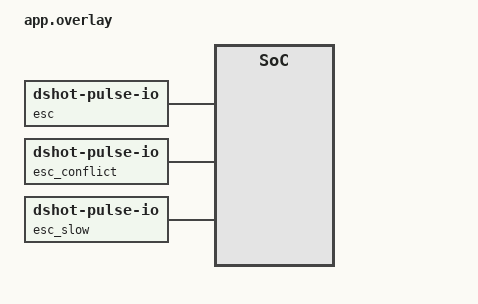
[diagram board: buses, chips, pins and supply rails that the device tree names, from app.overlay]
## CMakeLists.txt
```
# SPDX-FileCopyrightText: Copyright The Zephyr Project Contributors
# SPDX-License-Identifier: Apache-2.0

cmake_minimum_required(VERSION 3.28.0)
find_package(Zephyr REQUIRED HINTS $ENV{ZEPHYR_BASE})
project(dshot_pulse_io)

target_sources(app PRIVATE src/main.c src/fake_pulse_io.c)
```

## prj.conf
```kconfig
CONFIG_ZTEST=y
CONFIG_DSHOT=y
CONFIG_LOG=y
CONFIG_ZTEST_STACK_SIZE=4096
```

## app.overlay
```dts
/*
 * SPDX-FileCopyrightText: Copyright The Zephyr Project Contributors
 *
 * SPDX-License-Identifier: Apache-2.0
 */

/ {
	fake_pio0: pulse-io-0 {
		compatible = "vnd,pulse-io-fake";
		#pulse-io-cells = <1>;
		num-channels = <8>;
		group-transmit;
	};

	fake_pio1: pulse-io-1 {
		compatible = "vnd,pulse-io-fake";
		#pulse-io-cells = <1>;
		num-channels = <2>;
	};

	/* Four ESCs spread over two controllers */
	esc: dshot-0 {
		compatible = "zephyr,dshot-pulse-io";
		pulse-ios = <&fake_pio0 0>, <&fake_pio0 1>, <&fake_pio0 2>, <&fake_pio1 0>;
		dshot-speed = <600>;
	};

	/* Claims a channel esc already owns, so it never becomes ready */
	esc_conflict: dshot-1 {
		compatible = "zephyr,dshot-pulse-io";
		pulse-ios = <&fake_pio0 1>;
	};

	esc_slow: dshot-2 {
		compatible = "zephyr,dshot-pulse-io";
		pulse-ios = <&fake_pio0 5>;
		dshot-speed = <150>;
	};
};
```

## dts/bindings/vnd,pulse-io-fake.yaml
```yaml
# SPDX-FileCopyrightText: Copyright The Zephyr Project Contributors
# SPDX-License-Identifier: Apache-2.0

description: |
  Test double for a Pulse IO controller. It records what clients transmit
  and lets the test change the capabilities it reports.

compatible: "vnd,pulse-io-fake"

include: [pulse-io-controller.yaml]

properties:
  num-channels:
    type: int
    required: true
    description: Number of channels the controller exposes.

  group-transmit:
    type: boolean
    description: |
      Implement group transmission, with channels starting on the same
      edge.
```

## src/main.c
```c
/*
 * SPDX-FileCopyrightText: Copyright The Zephyr Project Contributors
 *
 * SPDX-License-Identifier: Apache-2.0
 */

#include <zephyr/drivers/dshot.h>
#include <zephyr/drivers/pulse_io.h>
#include <zephyr/kernel.h>
#include <zephyr/ztest.h>

#include "fake_pulse_io.h"

#define ESC_CHANNELS 4U

static const struct device *const esc = DEVICE_DT_GET(DT_NODELABEL(esc));
static const struct device *const esc_conflict = DEVICE_DT_GET(DT_NODELABEL(esc_conflict));
static const struct device *const esc_slow = DEVICE_DT_GET(DT_NODELABEL(esc_slow));
static const struct device *const pio0 = DEVICE_DT_GET(DT_NODELABEL(fake_pio0));
static const struct device *const pio1 = DEVICE_DT_GET(DT_NODELABEL(fake_pio1));

/* DShot channels 0-2 are on pio0 channels 0-2, channel 3 on pio1 channel 0 */
static struct fake_pio_channel *esc_ch(uint8_t channel)
{
	return (channel < 3U) ? fake_pio_channel(pio0, channel) : fake_pio_channel(pio1, 0);
}

static void clear_records(void)
{
	for (uint8_t i = 0; i < ESC_CHANNELS; i++) {
		struct fake_pio_channel *ch = esc_ch(i);

		ch->configure_count = 0;
		ch->tx_count = 0;
		ch->last_count = 0;
		ch->history_len = 0;
	}
}

static int configure(enum dshot_speed speed)
{
	struct dshot_config cfg = {.speed = speed};

	return dshot_configure(esc, &cfg);
}

/* Apply @p speed even when it is the current one */
static void force_speed(enum dshot_speed speed)
{
	zassert_ok(configure((speed == DSHOT_SPEED_300) ? DSHOT_SPEED_600 : DSHOT_SPEED_300));
	zassert_ok(configure(speed));
}

static void assert_history(uint8_t channel, size_t count, uint16_t frame)
{
	struct fake_pio_channel *ch = esc_ch(channel);

	zassert_equal(ch->history_len, count, "channel %u sent %zu frames", channel,
		      ch->history_len);
	for (size_t i = 0; i < count; i++) {
		zassert_equal(ch->history[i], frame, "channel %u frame %zu: 0x%04x", channel, i,
			      ch->history[i]);
	}
}

ZTEST(dshot_pulse_io, test_ready_and_ownership)
{
	struct pulse_io_channel *handle;

	zassert_true(device_is_ready(esc));
	zassert_true(device_is_ready(esc_slow));
	zassert_equal(dshot_get_channel_count(esc), ESC_CHANNELS);
	zassert_equal(dshot_get_channel_count(esc_slow), 1U);

	/* The second device claiming a reserved channel fails to initialize */
	zassert_false(device_is_ready(esc_conflict));

	/* Reserved channels stay unavailable to other Pulse IO clients */
	zassert_equal(pulse_io_channel_get(pio0, 1, &handle), -EBUSY);
	zassert_equal(pulse_io_channel_get(pio1, 0, &handle), -EBUSY);
	zassert_equal(pulse_io_channel_get(pio0, 5, &handle), -EBUSY);

	zassert_ok(pulse_io_channel_get(pio0, 7, &handle));
	zassert_ok(pulse_io_channel_release(pio0, handle));
}

ZTEST(dshot_pulse_io, test_cell_configuration)
{
	struct fake_pio_channel *ch = esc_ch(0);

	zassert_equal(ch->cfg.mode, PULSE_IO_MODE_CELL);
	zassert_equal(ch->cfg.dir, PULSE_IO_DIR_TX);
	zassert_false(ch->cfg.idle_high);
	zassert_false(ch->cfg.carrier_en);
	/* The finest tick on offer is requested and rounded to 80 MHz */
	zassert_equal(ch->cfg.resolution_hz, NSEC_PER_SEC / 13U);
	zassert_equal(ch->resolution_hz, 80000000U);
	zassert_equal(ch->cfg.cell_period_ticks, 133U);

	/* The period estimated from the requested rate is corrected */
	clear_records();
	zassert_ok(configure(DSHOT_SPEED_300));
	zassert_equal(ch->configure_count, 2U);
	zassert_equal(ch->cfg.cell_period_ticks, 267U);

	/* The slow device was configured from its devicetree speed */
	zassert_equal(fake_pio_channel(pio0, 5)->cfg.cell_period_ticks, 533U);
}

ZTEST(dshot_pulse_io, test_send_frames)
{
	struct fake_pio_channel *ch = esc_ch(1);

	zassert_ok(dshot_set_throttle(esc, 0, DSHOT_THROTTLE_MIN, false));
	zassert_ok(dshot_set_throttle(esc, 1, 1046, true));
	zassert_ok(dshot_set_throttle(esc, 2, DSHOT_THROTTLE_MAX, false));
	zassert_ok(dshot_send(esc));

	assert_history(0, 1, 0x0606);
	assert_history(1, 1, 0x82d7);
	assert_history(2, 1, 0xffee);
	assert_history(3, 1, 0x0000);

	/* 16 data cells at 3/8 and 3/4 of 133 ticks, then two idle cells */
	zassert_equal(ch->last_count, 18U);
	for (size_t i = 0; i < 16U; i++) {
		bool one = (0x82d7 & BIT(15U - i)) != 0U;

		zassert_equal(ch->last.cells[i].duty, one ? 100U : 50U, "cell %zu", i);
	}
	zassert_equal(ch->last.cells[16].duty, 0U);
	zassert_equal(ch->last.cells[17].duty, 0U);

	/* Transmissions are bounded in time */
	zassert_false(K_TIMEOUT_EQ(ch->last_timeout, K_FOREVER));
	zassert_false(K_TIMEOUT_EQ(ch->last_timeout, K_NO_WAIT));
}

ZTEST(dshot_pulse_io, test_group_transmit)
{
	struct fake_pio_groups *groups = fake_pio_groups(pio0);

	zassert_ok(dshot_set_throttle(esc, 1, 1046, false));
	zassert_ok(dshot_send(esc));

	/* The three channels of pio0 start together on the same edge */
	zassert_equal(groups->calls, 1U);
	zassert_equal(groups->last_count, 3U);
	zassert_equal(groups->last_flags, PULSE_IO_TX_GROUP_SYNC);
	assert_history(1, 1, 0x82c6);

	/* pio1 has no group support and transmits on its own */
	zassert_equal(fake_pio_groups(pio1)->calls, 0U);
	assert_history(3, 1, 0x0000);
}

ZTEST(dshot_pulse_io, test_group_without_sync)
{
	struct fake_pio_groups *groups = fake_pio_groups(pio0);

	/* A controller that cannot align the starts still gets one group */
	fake_pio_caps(pio0)->tx_sync_multi_channel = false;
	force_speed(DSHOT_SPEED_600);
	zassert_ok(dshot_send(esc));
	zassert_equal(groups->calls, 1U);
	zassert_equal(groups->last_count, 3U);
	zassert_equal(groups->last_flags, 0U);
}

ZTEST(dshot_pulse_io, test_staged_value_persists)
{
	uint16_t frame = dshot_frame_encode(500, false);

	zassert_ok(dshot_set_throttle(esc, 0, 500, false));
	for (int i = 0; i < 3; i++) {
		zassert_ok(dshot_send(esc));
	}
	assert_history(0, 3, frame);
	assert_history(1, 3, 0x0000);
}

ZTEST(dshot_pulse_io, test_rejects_commands_as_throttle)
{
	for (uint16_t v = 1; v < DSHOT_THROTTLE_MIN; v++) {
		zassert_equal(dshot_set_throttle(esc, 0, v, false), -EINVAL, "value %u", v);
	}
	zassert_equal(dshot_set_throttle(esc, 0, DSHOT_THROTTLE_MAX + 1U, false), -EINVAL);
	zassert_equal(dshot_set_throttle(esc, ESC_CHANNELS, 100, false), -EINVAL);

	/* Nothing was sent and the staged stop value is unchanged */
	zassert_equal(esc_ch(0)->tx_count, 0U);
	zassert_ok(dshot_send(esc));
	assert_history(0, 1, 0x0000);
}

ZTEST(dshot_pulse_io, test_stop)
{
	for (uint8_t i = 0; i < ESC_CHANNELS; i++) {
		zassert_ok(dshot_set_throttle(esc, i, 1000 + i, true));
	}
	zassert_ok(dshot_stop(esc));
	zassert_ok(dshot_send(esc));

	for (uint8_t i = 0; i < ESC_CHANNELS; i++) {
		assert_history(i, 2, 0x0000);
	}
}

ZTEST(dshot_pulse_io, test_all_speeds)
{
	static const struct {
		enum dshot_speed speed;
		uint32_t bit_ticks;
		uint16_t t0h;
		uint16_t t1h;
		size_t cells;
	} expect[] = {
		{DSHOT_SPEED_150, 533, 200, 400, 18},
		{DSHOT_SPEED_300, 267, 100, 200, 18},
		{DSHOT_SPEED_600, 133, 50, 100, 18},
		{DSHOT_SPEED_1200, 67, 25, 50, 19},
	};
	struct fake_pio_channel *ch = esc_ch(0);

	for (size_t i = 0; i < ARRAY_SIZE(expect); i++) {
		zassert_ok(configure(expect[i].speed));
		zassert_equal(ch->cfg.cell_period_ticks, expect[i].bit_ticks, "DShot%u",
			      expect[i].speed);
		zassert_ok(dshot_set_throttle(esc, 0, 1046, false));
		zassert_ok(dshot_send(esc));
		/* The speed only changes while the motors are stopped */
		zassert_ok(dshot_set_throttle(esc, 0, DSHOT_THROTTLE_STOP, false));
		zassert_equal(ch->last_count, expect[i].cells, "DShot%u", expect[i].speed);
		zassert_equal(ch->last.cells[0].duty, expect[i].t1h, "DShot%u", expect[i].speed);
		zassert_equal(ch->last.cells[1].duty, expect[i].t0h, "DShot%u", expect[i].speed);
		zassert_equal(ch->history[ch->history_len - 1U], 0x82c6);
	}
}

ZTEST(dshot_pulse_io, test_invalid_speed)
{
	zassert_equal(configure((enum dshot_speed)400), -EINVAL);
	zassert_equal(configure((enum dshot_speed)0), -EINVAL);
	zassert_equal(esc_ch(0)->configure_count, 0U);
}

ZTEST(dshot_pulse_io, test_symbol_fallback)
{
	struct fake_pio_channel *ch = esc_ch(2);

	/* Level-only cells cannot carry a duty cycle */
	fake_pio_caps(pio0)->cell_duty_bits = 0;
	fake_pio_caps(pio1)->cell_duty_bits = 0;
	zassert_ok(configure(DSHOT_SPEED_300));
	zassert_equal(ch->cfg.mode, PULSE_IO_MODE_SYMBOL);

	zassert_ok(dshot_set_throttle(esc, 2, 1046, false));
	zassert_ok(dshot_send(esc));
	assert_history(2, 1, 0x82c6);

	zassert_equal(ch->last_count, 34U);
	for (size_t i = 0; i < 16U; i++) {
		bool one = (0x82c6 & BIT(15U - i)) != 0U;

		zassert_equal(ch->last.symbols[2U * i].level, 1U);
		zassert_equal(ch->last.symbols[2U * i].duration, one ? 200U : 100U);
		zassert_equal(ch->last.symbols[2U * i + 1U].level, 0U);
		zassert_equal(ch->last.symbols[2U * i].duration +
				      ch->last.symbols[2U * i + 1U].duration,
			      267U);
	}
	zassert_equal(ch->last.symbols[32].level, 0U);
	zassert_equal(ch->last.symbols[33].duration, 267U);
}

ZTEST(dshot_pulse_io, test_level_only_cells_unsupported)
{
	/* Only level cells: DShot cannot be generated at all */
	fake_pio_caps(pio0)->modes = PULSE_IO_MODE_CELL;
	fake_pio_caps(pio0)->cell_duty_bits = 0;
	zassert_equal(configure(DSHOT_SPEED_300), -ENOTSUP);

	/* Restoring the previous speed failed too, so nothing is sent */
	zassert_equal(dshot_send(esc), -EIO);
	zassert_equal(esc_ch(3)->tx_count, 0U);

	fake_pio_reset(pio0);
	zassert_ok(configure(DSHOT_SPEED_600));
	zassert_ok(dshot_send(esc));
}

ZTEST(dshot_pulse_io, test_unsupported_speed_keeps_previous)
{
	/* 10 MHz ticks: DShot300 is 1 % fast, DShot1200 would be 4 % fast */
	fake_pio_caps(pio0)->min_tick_ns = 100;
	fake_pio_caps(pio1)->min_tick_ns = 100;
	zassert_ok(configure(DSHOT_SPEED_300));
	zassert_equal(esc_ch(0)->cfg.cell_period_ticks, 33U);

	zassert_equal(configure(DSHOT_SPEED_1200), -ENOTSUP);
	zassert_equal(esc_ch(0)->cfg.cell_period_ticks, 33U);
	zassert_equal(esc_ch(3)->cfg.cell_period_ticks, 33U);

	zassert_ok(dshot_send(esc));
	zassert_equal(esc_ch(0)->last.cells[0].duty, 12U);
}

ZTEST(dshot_pulse_io, test_resolution_rounding)
{
	struct fake_pio_channel *ch = esc_ch(0);

	/* 48 MHz source: the 47.6 MHz request rounds to 48 MHz */
	fake_pio_set_src_clock(pio0, 48000000);
	fake_pio_caps(pio0)->min_tick_ns = 21;
	force_speed(DSHOT_SPEED_600);
	zassert_equal(ch->cfg.resolution_hz, NSEC_PER_SEC / 21U);
	zassert_equal(ch->cfg.cell_period_ticks, 80U);

	zassert_ok(dshot_set_throttle(esc, 0, 2047, false));
	zassert_ok(dshot_send(esc));
	zassert_equal(ch->last.cells[0].duty, 60U);
	zassert_equal(ch->last.cells[11].duty, 30U);
}

ZTEST(dshot_pulse_io, test_no_resolution_readback)
{
	struct fake_pio_channel *ch = esc_ch(0);

	/* Without readback the requested rate is assumed */
	fake_pio_set_readback(pio0, false);
	fake_pio_set_src_clock(pio0, NSEC_PER_SEC / 13U);
	force_speed(DSHOT_SPEED_600);
	zassert_equal(ch->cfg.cell_period_ticks, 128U);

	zassert_ok(dshot_send(esc));
	zassert_equal(ch->last.cells[0].duty, 48U);
}

ZTEST(dshot_pulse_io, test_transmit_error)
{
	esc_ch(1)->tx_error = -EIO;
	zassert_equal(dshot_send(esc), -EIO);

	/* The other channels are still sent */
	for (uint8_t i = 0; i < ESC_CHANNELS; i++) {
		zassert_equal(esc_ch(i)->tx_count, 1U, "channel %u", i);
	}

	/* The first error wins */
	esc_ch(3)->tx_error = -ETIMEDOUT;
	zassert_equal(dshot_send(esc), -EIO);
	esc_ch(1)->tx_error = 0;
	zassert_equal(dshot_send(esc), -ETIMEDOUT);
	esc_ch(3)->tx_error = 0;
	zassert_ok(dshot_send(esc));
}

ZTEST(dshot_pulse_io, test_command_sequence)
{
	int64_t start = k_uptime_get();

	zassert_ok(dshot_send_command(esc, BIT(1), DSHOT_CMD_SPIN_DIRECTION_REVERSED));

	/* Ten identical frames with the telemetry bit, nine 1 ms gaps, 1 ms after */
	assert_history(1, 10, dshot_frame_encode(DSHOT_CMD_SPIN_DIRECTION_REVERSED, true));
	assert_history(0, 10, 0x0000);
	assert_history(2, 10, 0x0000);
	assert_history(3, 10, 0x0000);
	zassert_true(k_uptime_get() - start >= 10);

	/* The staged values are untouched */
	zassert_ok(dshot_send(esc));
	zassert_equal(esc_ch(1)->history[10], 0x0000);
}

ZTEST(dshot_pulse_io, test_command_beacon)
{
	int64_t start = k_uptime_get();

	zassert_ok(dshot_send_command(esc, BIT_MASK(ESC_CHANNELS), DSHOT_CMD_BEACON1));
	zassert_true(k_uptime_get() - start >= 260);
	for (uint8_t i = 0; i < ESC_CHANNELS; i++) {
		assert_history(i, 1, 0x0033);
	}
}

ZTEST(dshot_pulse_io, test_command_requires_stopped_motors)
{
	zassert_ok(dshot_set_throttle(esc, 2, 100, false));
	zassert_equal(dshot_send_command(esc, BIT(0), DSHOT_CMD_BEACON1), -EBUSY);
	zassert_equal(esc_ch(0)->tx_count, 0U);

	/* A stopped motor with the telemetry bit is still stopped */
	zassert_ok(dshot_set_throttle(esc, 2, DSHOT_THROTTLE_STOP, true));
	zassert_ok(dshot_send_command(esc, BIT(0), DSHOT_CMD_LED0_ON));
}

ZTEST(dshot_pulse_io, test_command_invalid)
{
	zassert_equal(dshot_send_command(esc, 0, DSHOT_CMD_BEACON1), -EINVAL);
	zassert_equal(dshot_send_command(esc, BIT(ESC_CHANNELS), DSHOT_CMD_BEACON1), -EINVAL);
	zassert_equal(dshot_send_command(esc, BIT(0), (enum dshot_command)48), -EINVAL);
	zassert_equal(esc_ch(0)->tx_count, 0U);
}

ZTEST(dshot_pulse_io, test_configure_while_spinning)
{
	zassert_ok(dshot_set_throttle(esc, 3, 100, false));
	zassert_equal(configure(DSHOT_SPEED_300), -EBUSY);
	zassert_equal(esc_ch(0)->configure_count, 0U);
}

static K_THREAD_STACK_DEFINE(worker_stack, 2048);
static struct k_thread worker;
static volatile int worker_result;

static void command_worker(void *p1, void *p2, void *p3)
{
	ARG_UNUSED(p1);
	ARG_UNUSED(p2);
	ARG_UNUSED(p3);

	worker_result = dshot_send_command(esc, BIT(0), DSHOT_CMD_SAVE_SETTINGS);
}

ZTEST(dshot_pulse_io, test_throttle_rejected_during_command)
{
	k_thread_create(&worker, worker_stack, K_THREAD_STACK_SIZEOF(worker_stack),
			command_worker, NULL, NULL, NULL, K_PRIO_PREEMPT(0), 0, K_NO_WAIT);

	/* The command takes 10 frames 1 ms apart, then 35 ms */
	k_msleep(20);
	zassert_true(esc_ch(0)->tx_count > 0U);
	zassert_equal(dshot_set_throttle(esc, 1, 100, false), -EBUSY);
	zassert_ok(dshot_set_throttle(esc, 1, DSHOT_THROTTLE_STOP, true));

	zassert_ok(k_thread_join(&worker, K_SECONDS(1)));
	zassert_ok(worker_result);
	assert_history(0, 10, dshot_frame_encode(DSHOT_CMD_SAVE_SETTINGS, true));

	zassert_ok(dshot_set_throttle(esc, 1, 100, false));
}

static void send_worker(void *p1, void *p2, void *p3)
{
	ARG_UNUSED(p2);
	ARG_UNUSED(p3);

	*(volatile int *)p1 = dshot_send(esc);
}

ZTEST(dshot_pulse_io, test_overlapping_sends)
{
	static K_THREAD_STACK_DEFINE(second_stack, 2048);
	static volatile int second_result;
	static struct k_thread second;
	struct fake_pio_channel *ch = esc_ch(0);
	struct k_sem gate;

	k_sem_init(&gate, 0, 2);
	ch->tx_gate = &gate;
	zassert_ok(dshot_set_throttle(esc, 0, 500, false));

	/* The first send blocks inside the channel 0 transmission */
	k_thread_create(&worker, worker_stack, K_THREAD_STACK_SIZEOF(worker_stack), send_worker,
			(void *)&worker_result, NULL, NULL, K_PRIO_PREEMPT(0), 0, K_NO_WAIT);
	k_msleep(5);
	zassert_true(ch->tx_waiting);

	/* Staging does not wait for the transmission in flight */
	zassert_ok(dshot_set_throttle(esc, 0, 1046, false));

	/* A second send waits for the first one */
	k_thread_create(&second, second_stack, K_THREAD_STACK_SIZEOF(second_stack), send_worker,
			(void *)&second_result, NULL, NULL, K_PRIO_PREEMPT(0), 0, K_NO_WAIT);
	k_msleep(5);
	zassert_equal(esc_ch(1)->tx_count, 0U);

	k_sem_give(&gate);
	k_sem_give(&gate);
	zassert_ok(k_thread_join(&worker, K_SECONDS(1)));
	zassert_ok(k_thread_join(&second, K_SECONDS(1)));
	zassert_ok(worker_result);
	zassert_ok(second_result);

	/* The frame in flight kept the value staged when it started */
	zassert_equal(ch->history_len, 2U);
	zassert_equal(ch->history[0], dshot_frame_encode(500, false));
	zassert_equal(ch->history[1], dshot_frame_encode(1046, false));
	assert_history(1, 2, 0x0000);
}

static int isr_set_result;
static int isr_send_result;

static void isr_timer_fn(struct k_timer *timer)
{
	ARG_UNUSED(timer);

	isr_set_result = dshot_set_throttle(esc, 0, 700, false);
	isr_send_result = dshot_send(esc);
}

ZTEST(dshot_pulse_io, test_isr_context)
{
	struct k_timer timer;

	k_timer_init(&timer, isr_timer_fn, NULL);
	k_timer_start(&timer, K_MSEC(1), K_NO_WAIT);
	k_msleep(10);

	/* Staging works from an interrupt, transmitting does not */
	zassert_ok(isr_set_result);
	zassert_equal(isr_send_result, -EWOULDBLOCK);
	zassert_equal(esc_ch(0)->tx_count, 0U);
	zassert_ok(dshot_send(esc));
	assert_history(0, 1, dshot_frame_encode(700, false));
}

/* Runs in user mode when CONFIG_USERSPACE=y, to cover the syscall handlers */
ZTEST_USER(dshot_pulse_io, test_syscalls)
{
	struct dshot_config cfg = {.speed = DSHOT_SPEED_300};

	zassert_equal(dshot_get_channel_count(esc), ESC_CHANNELS);
	zassert_ok(dshot_configure(esc, &cfg));
	zassert_ok(dshot_set_throttle(esc, 0, 1046, true));
	zassert_equal(dshot_set_throttle(esc, 0, 47, false), -EINVAL);
	zassert_ok(dshot_send(esc));
	zassert_ok(dshot_stop(esc));
	zassert_ok(dshot_send_command(esc, BIT(1), DSHOT_CMD_LED0_ON));
	zassert_equal(dshot_send_command(esc, BIT(1), (enum dshot_command)60), -EINVAL);
}

static void *dshot_pulse_io_setup(void)
{
	k_object_access_grant(esc, k_current_get());
	return NULL;
}

static void dshot_pulse_io_before(void *fixture)
{
	ARG_UNUSED(fixture);

	for (uint8_t i = 0; i < ESC_CHANNELS; i++) {
		zassert_ok(dshot_set_throttle(esc, i, DSHOT_THROTTLE_STOP, false));
	}
	fake_pio_reset(pio0);
	fake_pio_reset(pio1);
	force_speed(DSHOT_SPEED_600);
	clear_records();
}

ZTEST_SUITE(dshot_pulse_io, NULL, dshot_pulse_io_setup, dshot_pulse_io_before, NULL, NULL);
```

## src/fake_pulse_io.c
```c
/*
 * SPDX-FileCopyrightText: Copyright The Zephyr Project Contributors
 *
 * SPDX-License-Identifier: Apache-2.0
 */

#define DT_DRV_COMPAT vnd_pulse_io_fake

#include <string.h>

#include <zephyr/device.h>
#include <zephyr/drivers/pulse_io.h>
#include <zephyr/kernel.h>

#include "fake_pulse_io.h"

#define FAKE_PIO_SRC_CLK_HZ 80000000U

struct fake_pio_data {
	struct pulse_io_caps caps;
	struct fake_pio_groups groups;
	uint32_t src_clk_hz;
	bool readback;
	bool group_support;
	uint8_t num_channels;
	struct fake_pio_channel channels[FAKE_PIO_MAX_CHANNELS];
};

/* Like the ESP32-S3 RMT: 80 MHz source, 15-bit fields, 4 TX channels */
static void fake_pio_default_caps(struct fake_pio_data *data)
{
	data->caps = (struct pulse_io_caps){
		.modes = PULSE_IO_MODE_SYMBOL | PULSE_IO_MODE_CELL,
		.supports_tx = true,
		.supports_rx = false,
		.min_tick_ns = 13,
		.max_tick_ns = 819200,
		.max_duration_ticks = 32767,
		.tx_channel_mask = BIT_MASK(data->num_channels),
		.num_channels = data->num_channels,
		.cell_duty_bits = 15,
		.tx_max_streaming = SIZE_MAX,
	};
	data->caps.tx_sync_multi_channel = data->group_support;
	data->src_clk_hz = FAKE_PIO_SRC_CLK_HZ;
	data->readback = true;
}

static struct fake_pio_channel *to_channel(const struct device *dev,
					   struct pulse_io_channel *handle)
{
	struct fake_pio_data *data = dev->data;
	uintptr_t idx = (uintptr_t)handle - 1U;

	if (idx >= data->num_channels) {
		return NULL;
	}
	return &data->channels[idx];
}

struct fake_pio_channel *fake_pio_channel(const struct device *dev, uint8_t index)
{
	struct fake_pio_data *data = dev->data;

	return &data->channels[index];
}

struct pulse_io_caps *fake_pio_caps(const struct device *dev)
{
	struct fake_pio_data *data = dev->data;

	return &data->caps;
}

void fake_pio_set_src_clock(const struct device *dev, uint32_t src_clk_hz)
{
	struct fake_pio_data *data = dev->data;

	data->src_clk_hz = src_clk_hz;
}

void fake_pio_set_readback(const struct device *dev, bool supported)
{
	struct fake_pio_data *data = dev->data;

	data->readback = supported;
}

struct fake_pio_groups *fake_pio_groups(const struct device *dev)
{
	struct fake_pio_data *data = dev->data;

	return &data->groups;
}

void fake_pio_reset(const struct device *dev)
{
	struct fake_pio_data *data = dev->data;

	fake_pio_default_caps(data);
	data->groups = (struct fake_pio_groups){0};
	for (uint8_t i = 0; i < data->num_channels; i++) {
		struct fake_pio_channel *ch = &data->channels[i];

		ch->configure_count = 0;
		ch->tx_count = 0;
		ch->last_count = 0;
		ch->history_len = 0;
		ch->tx_error = 0;
		ch->tx_gate = NULL;
		ch->tx_waiting = false;
	}
}

static int fake_get_capabilities(const struct device *dev, struct pulse_io_caps *caps)
{
	struct fake_pio_data *data = dev->data;

	*caps = data->caps;
	return 0;
}

static int fake_channel_get(const struct device *dev, uint8_t channel_idx,
			    struct pulse_io_channel **chan)
{
	struct fake_pio_data *data = dev->data;

	if (channel_idx >= data->num_channels) {
		return -ENODEV;
	}
	if (data->channels[channel_idx].in_use) {
		return -EBUSY;
	}
	data->channels[channel_idx].in_use = true;
	*chan = (struct pulse_io_channel *)(uintptr_t)(channel_idx + 1U);
	return 0;
}

static int fake_channel_release(const struct device *dev, struct pulse_io_channel *chan)
{
	struct fake_pio_channel *ch = to_channel(dev, chan);

	if ((ch == NULL) || !ch->in_use) {
		return -EINVAL;
	}
	ch->in_use = false;
	ch->configured = false;
	return 0;
}

static int fake_channel_configure(const struct device *dev, struct pulse_io_channel *chan,
				  const struct pulse_io_config *cfg)
{
	struct fake_pio_data *data = dev->data;
	struct fake_pio_channel *ch = to_channel(dev, chan);
	uint32_t div;

	if ((ch == NULL) || !ch->in_use) {
		return -EINVAL;
	}
	if ((cfg->mode & data->caps.modes) == 0U) {
		return -ENOTSUP;
	}
	if ((cfg->mode == PULSE_IO_MODE_CELL) &&
	    ((cfg->cell_period_ticks == 0U) ||
	     (cfg->cell_period_ticks > data->caps.max_duration_ticks))) {
		return -EINVAL;
	}
	if (cfg->resolution_hz == 0U) {
		return -EINVAL;
	}

	div = DIV_ROUND_CLOSEST(data->src_clk_hz, cfg->resolution_hz);
	ch->resolution_hz = data->src_clk_hz / MAX(div, 1U);
	ch->cfg = *cfg;
	ch->configured = true;
	ch->configure_count++;
	return 0;
}

static int fake_channel_get_resolution(const struct device *dev, struct pulse_io_channel *chan,
				       uint32_t *resolution_hz)
{
	struct fake_pio_data *data = dev->data;
	struct fake_pio_channel *ch = to_channel(dev, chan);

	if (!data->readback) {
		return -ENOSYS;
	}
	if ((ch == NULL) || !ch->configured) {
		return -EINVAL;
	}
	*resolution_hz = ch->resolution_hz;
	return 0;
}

static uint16_t fake_decode(const struct fake_pio_channel *ch)
{
	uint16_t bits = 0;

	for (size_t i = 0; i < 16U; i++) {
		uint32_t high;
		uint32_t period;

		if (ch->cfg.mode == PULSE_IO_MODE_CELL) {
			if (i >= ch->last_count) {
				break;
			}
			high = ch->last.cells[i].duty;
			period = ch->cfg.cell_period_ticks;
		} else {
			if ((2U * i + 1U) >= ch->last_count) {
				break;
			}
			high = ch->last.symbols[2U * i].duration;
			period = high + ch->last.symbols[2U * i + 1U].duration;
		}
		bits = (uint16_t)((bits << 1) | ((2U * high > period) ? 1U : 0U));
	}

	return bits;
}

static int fake_check_tx(struct fake_pio_channel *ch, const struct pulse_io_tx_req *req)
{
	if ((ch == NULL) || !ch->configured || (req->count == 0U)) {
		return -EINVAL;
	}
	if (req->count > FAKE_PIO_MAX_ENTRIES) {
		return -ENOMEM;
	}
	return 0;
}

static int fake_record_tx(struct fake_pio_channel *ch, const struct pulse_io_tx_req *req,
			  k_timeout_t timeout)
{
	if (ch->tx_gate != NULL) {
		ch->tx_waiting = true;
		k_sem_take(ch->tx_gate, K_FOREVER);
		ch->tx_waiting = false;
	}

	/* Read the buffer at the end, as hardware streaming it would */
	memcpy(ch->last.symbols, req->symbols, req->count * sizeof(struct pulse_symbol));
	ch->last_count = req->count;
	ch->last_timeout = timeout;
	ch->tx_count++;
	if (ch->history_len < FAKE_PIO_HISTORY) {
		ch->history[ch->history_len++] = fake_decode(ch);
	}

	return ch->tx_error;
}

static int fake_transmit_sync(const struct device *dev, struct pulse_io_channel *chan,
			      const struct pulse_io_tx_req *req, k_timeout_t timeout)
{
	struct fake_pio_channel *ch = to_channel(dev, chan);
	int ret = fake_check_tx(ch, req);

	return (ret != 0) ? ret : fake_record_tx(ch, req, timeout);
}

static int fake_transmit_group_sync(const struct device *dev,
				    const struct pulse_io_tx_group_entry *entries, size_t count,
				    uint32_t flags, k_timeout_t timeout)
{
	struct fake_pio_data *data = dev->data;
	int first_err = 0;

	if (((flags & PULSE_IO_TX_GROUP_SYNC) != 0U) && !data->caps.tx_sync_multi_channel) {
		return -ENOTSUP;
	}
	for (size_t i = 0; i < count; i++) {
		int ret = fake_check_tx(to_channel(dev, entries[i].chan), &entries[i].req);

		if (ret != 0) {
			return ret;
		}
	}

	data->groups.calls++;
	data->groups.last_count = count;
	data->groups.last_flags = flags;

	for (size_t i = 0; i < count; i++) {
		int ret = fake_record_tx(to_channel(dev, entries[i].chan), &entries[i].req,
					 timeout);

		if ((ret != 0) && (first_err == 0)) {
			first_err = ret;
		}
	}

	return first_err;
}

static int fake_receive_sync(const struct device *dev, struct pulse_io_channel *chan,
			     const struct pulse_io_rx_req *req, size_t *count, k_timeout_t timeout)
{
	ARG_UNUSED(dev);
	ARG_UNUSED(chan);
	ARG_UNUSED(req);
	ARG_UNUSED(count);
	ARG_UNUSED(timeout);

	return -ENOTSUP;
}

static int fake_stop(const struct device *dev, struct pulse_io_channel *chan)
{
	return (to_channel(dev, chan) == NULL) ? -EINVAL : 0;
}

static DEVICE_API(pulse_io, fake_pio_api) = {
	.get_capabilities = fake_get_capabilities,
	.channel_get = fake_channel_get,
	.channel_release = fake_channel_release,
	.channel_configure = fake_channel_configure,
	.transmit_sync = fake_transmit_sync,
	.receive_sync = fake_receive_sync,
	.stop = fake_stop,
	.channel_get_resolution = fake_channel_get_resolution,
};

/* Same controller with group transmission */
static DEVICE_API(pulse_io, fake_pio_group_api) = {
	.get_capabilities = fake_get_capabilities,
	.channel_get = fake_channel_get,
	.channel_release = fake_channel_release,
	.channel_configure = fake_channel_configure,
	.transmit_sync = fake_transmit_sync,
	.receive_sync = fake_receive_sync,
	.stop = fake_stop,
	.channel_get_resolution = fake_channel_get_resolution,
	.transmit_group_sync = fake_transmit_group_sync,
};

static int fake_pio_init(const struct device *dev)
{
	fake_pio_default_caps(dev->data);
	return 0;
}

#define FAKE_PIO_DEFINE(inst)                                                                      \
	BUILD_ASSERT(DT_INST_PROP(inst, num_channels) <= FAKE_PIO_MAX_CHANNELS);                   \
	static struct fake_pio_data fake_pio_data_##inst = {                                       \
		.num_channels = DT_INST_PROP(inst, num_channels),                                  \
		.group_support = DT_INST_PROP(inst, group_transmit),                               \
	};                                                                                         \
	DEVICE_DT_INST_DEFINE(inst, fake_pio_init, NULL, &fake_pio_data_##inst, NULL, POST_KERNEL, \
			      CONFIG_PULSE_IO_INIT_PRIORITY,                                       \
			      COND_CODE_1(DT_INST_PROP(inst, group_transmit),                      \
					  (&fake_pio_group_api), (&fake_pio_api)));

DT_INST_FOREACH_STATUS_OKAY(FAKE_PIO_DEFINE)
```

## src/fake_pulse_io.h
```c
/*
 * SPDX-FileCopyrightText: Copyright The Zephyr Project Contributors
 *
 * SPDX-License-Identifier: Apache-2.0
 */

#ifndef FAKE_PULSE_IO_H_
#define FAKE_PULSE_IO_H_

#include <zephyr/device.h>
#include <zephyr/drivers/pulse_io.h>
#include <zephyr/kernel.h>

#define FAKE_PIO_MAX_CHANNELS 8
#define FAKE_PIO_MAX_ENTRIES  64
#define FAKE_PIO_HISTORY      32

struct fake_pio_channel {
	bool in_use;
	bool configured;
	struct pulse_io_config cfg;
	/* Tick rate the channel runs at after rounding */
	uint32_t resolution_hz;
	uint32_t configure_count;

	/* Last transmission, copied when the transmit call completes */
	uint32_t tx_count;
	size_t last_count;
	union {
		struct pulse_cell cells[FAKE_PIO_MAX_ENTRIES];
		struct pulse_symbol symbols[FAKE_PIO_MAX_ENTRIES];
	} last;
	k_timeout_t last_timeout;

	/*
	 * First 16 bits of every transmission, read back by comparing the
	 * high time of each bit with half its period
	 */
	uint16_t history[FAKE_PIO_HISTORY];
	size_t history_len;

	/* Returned by every transmission while nonzero */
	int tx_error;
	/* When set, a transmission waits for it before completing */
	struct k_sem *tx_gate;
	volatile bool tx_waiting;
};

/* Group transmissions received by a controller with group-transmit */
struct fake_pio_groups {
	uint32_t calls;
	size_t last_count;
	uint32_t last_flags;
};

struct fake_pio_channel *fake_pio_channel(const struct device *dev, uint8_t index);

struct fake_pio_groups *fake_pio_groups(const struct device *dev);

/*
 * Capabilities reported from now on; channels keep their configuration.
 * tx_sync_multi_channel defaults to the group-transmit property.
 */
struct pulse_io_caps *fake_pio_caps(const struct device *dev);

/* Effective rate is src_clk_hz divided by the nearest integer */
void fake_pio_set_src_clock(const struct device *dev, uint32_t src_clk_hz);

/* Make pulse_io_channel_get_resolution() return -ENOSYS */
void fake_pio_set_readback(const struct device *dev, bool supported);

/* Restore the default capabilities and clear recordings and faults */
void fake_pio_reset(const struct device *dev);

#endif /* FAKE_PULSE_IO_H_ */
```
